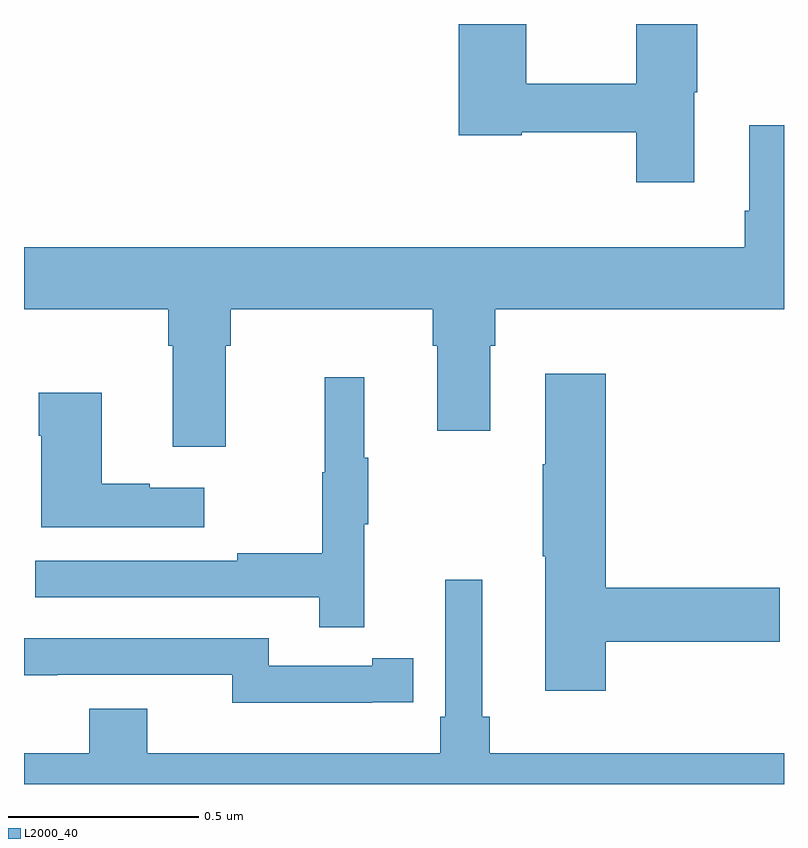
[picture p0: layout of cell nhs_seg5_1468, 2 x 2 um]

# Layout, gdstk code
import gdstk
lib = gdstk.Library(unit=1e-6, precision=1e-09)
def P(c, l, *ps):  # polygons
    for p in ps: c.add(gdstk.Polygon(p, *l))
L2000_40 = (2000, 40)

nhs_seg5_1468 = lib.new_cell('nhs_seg5_1468')
P(nhs_seg5_1468, L2000_40, [(131.764,902.619),(131.772,902.619),(131.772,902.799),(131.611,902.799),(131.611,902.642),(131.322,902.642),(131.322,902.799),(131.144,902.799),(131.144,902.506),(131.31,902.506),(131.31,902.514),(131.611,902.514),(131.611,902.382),(131.764,902.382)],
  [(130.531,901.952),(130.544,901.952),(130.544,902.048),(131.075,902.048),(131.075,901.952),(131.087,901.952),(131.087,901.728),(131.227,901.728),(131.227,901.952),(131.24,901.952),(131.24,902.048),(132,902.048),(132,902.533),(131.909,902.533),(131.909,902.308),(131.897,902.308),(131.897,902.212),(130,902.212),(130,902.048),(130.379,902.048),(130.379,901.952),(130.391,901.952),(130.391,901.686),(130.531,901.686)],
  [(131.531,901.174),(131.989,901.174),(131.989,901.316),(131.531,901.316),(131.531,901.879),(131.372,901.879),(131.372,901.64),(131.365,901.64),(131.365,901.399),(131.372,901.399),(131.372,901.044),(131.531,901.044)],
  [(130.895,901.483),(130.906,901.483),(130.906,901.657),(130.895,901.657),(130.895,901.87),(130.792,901.87),(130.792,901.62),(130.785,901.62),(130.785,901.406),(130.561,901.406),(130.561,901.386),(130.029,901.386),(130.029,901.29),(130.777,901.29),(130.777,901.212),(130.895,901.212)],
  [(130.474,901.579),(130.331,901.579),(130.331,901.589),(130.204,901.589),(130.204,901.828),(130.039,901.828),(130.039,901.715),(130.046,901.715),(130.046,901.475),(130.474,901.475)],
  [(132,900.88),(131.225,900.88),(131.225,900.976),(131.206,900.976),(131.206,901.336),(131.109,901.336),(131.109,900.976),(131.096,900.976),(131.096,900.88),(130.324,900.88),(130.324,900.997),(130.172,900.997),(130.172,900.88),(130,900.88),(130,900.799),(132,900.799)],
  [(130.916,901.014),(131.024,901.014),(131.024,901.13),(130.916,901.13),(130.916,901.11),(130.644,901.11),(130.644,901.182),(130,901.182),(130,901.085),(130.088,901.085),(130.088,901.086),(130.548,901.086),(130.548,901.013),(130.916,901.013)])

lib.write_gds('nhs_seg5_1468.gds')
